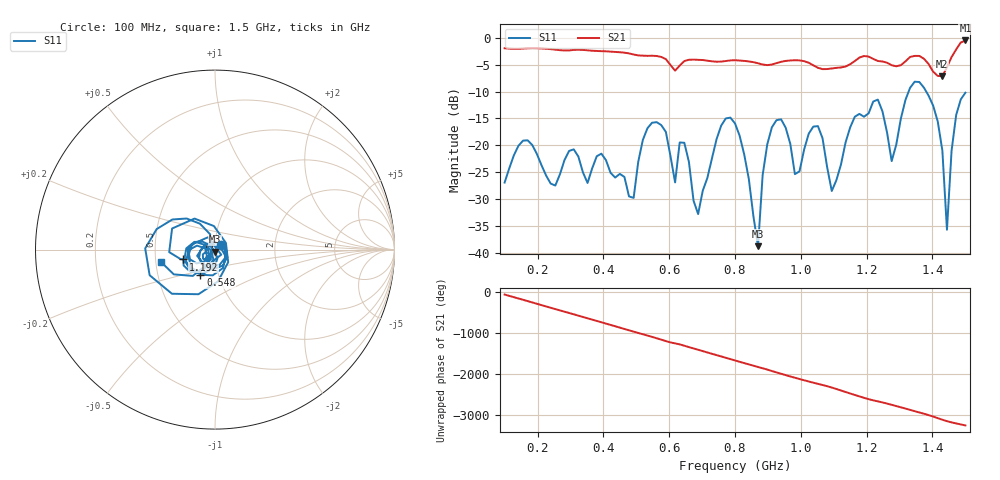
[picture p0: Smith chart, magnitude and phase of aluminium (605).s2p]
! NanoVNA-App
! Date: 2025-09-25 14:59:59
! Start: 100MHz Stop: 1,5GHz Points: 101
! S-Parameter data: F S11 S21 S12 S22
# Hz S RI R 50
!  Frequency  S11_Real  S11_Imag  S21_Real  S21_Imag  S12_Real  S12_Imag  S22_Real  S22_Imag
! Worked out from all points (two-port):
!   101 points, 100 MHz to 1.5 GHz, reference 50 ohm
!   highest |S21| = -0.46 dB at 1.5 GHz (marker M1); lowest = -7.1 dB at 1.43 GHz (marker M2)
!   |S21| within 3 dB of the highest: start of sweep to 570 MHz; 1.459 GHz to end of sweep (the widest 2 of 4)
!   lowest |S11| = -38.8 dB at 870 MHz (marker M3), VSWR 1.02, Z = 50.1 - j1.14 ohm
!   |S11| at or under -10 dB: start of sweep to 1.328 GHz; 1.381 GHz to end of sweep
!   S12 and S22 are empty: the file has one direction only
!   S11 on the Smith chart (normalised r, x): 100 MHz: 1.07, +0.06; 548 MHz: 0.82, -0.24; 1.192 GHz: 0.70, -0.08; 1.5 GHz: 0.53, -0.08
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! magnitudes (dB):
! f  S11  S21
! 100 MHz  -27.0  -1.9
! 156 MHz  -19.1  -2.0
! 338 MHz  -25.1  -2.2
! 492 MHz  -29.8  -3.1
! 548 MHz  -15.8  -3.3
! 576 MHz  -16.2  -3.5
! 646 MHz  -19.5  -4.3
! 688 MHz  -32.8  -4.1
! 800 MHz  -15.9  -4.1
! 870 MHz  -38.8  -4.7
! 912 MHz  -16.7  -4.9
! 982 MHz  -25.4  -4.1
! 1.038 GHz  -16.5  -5.1
! 1.094 GHz  -28.5  -5.7
! 1.192 GHz  -14.7  -3.4
! 1.234 GHz  -11.5  -4.3
! 1.276 GHz  -23.0  -5.1
! 1.346 GHz  -8.2  -3.3
! 1.43 GHz  -21.0  -7.1
! 1.444 GHz  -35.7  -5.4
! 1.472 GHz  -14.3  -2.1
! 1.5 GHz  -10.2  -0.5
